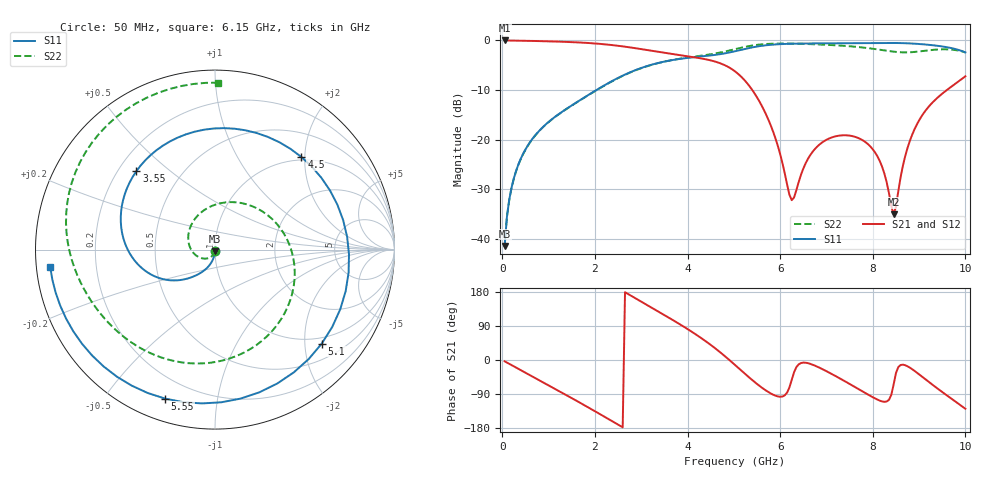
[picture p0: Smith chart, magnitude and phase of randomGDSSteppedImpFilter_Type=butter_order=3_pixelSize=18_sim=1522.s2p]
! freq	dB(S11)	phase(S11)	dB(S12)	phase(S12)
!  dB(S21)	phase(S21)	dB(S22)	phase(S22)
!S-par simulation data
#  GHz  S  DB  R 50
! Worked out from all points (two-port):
!   200 points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, 50 MHz to 10 GHz, reference 50 ohm
!   highest |S21| = -0.01 dB at 50 MHz (marker M1); lowest = -35.1 dB at 8.45 GHz (marker M2)
!   |S21| within 3 dB of the highest: start of sweep to 3.865 GHz
!   lowest |S11| = -41.5 dB at 50 MHz (marker M3), VSWR 1.02, Z = 50 - j0.844 ohm
!   |S11| at or under -10 dB: start of sweep to 2.034 GHz
!   |S22| runs from -41.5 to -0.6 dB; largest |S21 - S12| = 0
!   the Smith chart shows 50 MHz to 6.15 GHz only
!   S11 on the Smith chart (normalised r, x): 50 MHz: 1.00, -0.02; 3.55 GHz: 0.27, +0.39; 4.5 GHz: 0.94, +1.93; 5.1 GHz: 0.85, -2.39; 5.55 GHz: 0.10, -0.71; 6.15 GHz: 0.04, -0.05
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0.05  -41.47 -90.9  -0.01 -3.4  -0.01 -3.4  -41.49 -94.1
0.2  -29.68 -96.8  -0.03 -13.4  -0.03 -13.4  -29.73 -110.0
0.45  -22.86 -105.3  -0.06 -30.0  -0.06 -30.0  -22.91 -135.6
1.15  -15.33 -125.2  -0.22 -76.8  -0.22 -76.8  -15.36 150.1
1.75  -11.63 -139.5  -0.46 -117.7  -0.46 -117.7  -11.66 82.6
2.55  -7.33 -167.8  -1.14 -174.0  -1.14 -174.0  -7.38 -1.5
3.4  -4.47 145.2  -2.34 125.8  -2.34 125.8  -4.49 -74.3
3.55  -4.17 135.1  -2.56 115.1  -2.56 115.1  -4.18 -85.5
4.5  -3.03 47.0  -4.03 40.0  -4.03 40.0  -2.79 -147.9
5.05  -2.13 -33.4  -6.42 -15.7  -6.42 -15.7  -1.71 177.1
5.1  -2.02 -41.4  -6.81 -21.2  -6.81 -21.2  -1.59 173.6
5.55  -1.15 -108.6  -12.27 -68.0  -12.27 -68.0  -0.84 139.0
6.15  -0.69 -173.9  -29.05 -86.0  -29.05 -86.0  -0.63 88.9
6.7  -0.60 144.6  -22.46 -12.3  -22.46 -12.3  -0.76 41.0
7.25  -0.57 111.7  -19.24 -46.0  -19.24 -46.0  -1.01 -10.1
7.75  -0.54 85.4  -19.96 -80.8  -19.96 -80.8  -1.39 -62.4
8.35  -0.50 55.9  -30.81 -105.1  -30.81 -105.1  -2.14 -143.8
8.45  -0.51 51.0  -35.06 -64.8  -35.06 -64.8  -2.26 -160.5
8.75  -0.58 36.6  -21.69 -16.6  -21.69 -16.6  -2.41 144.6
9.1  -0.79 19.9  -14.66 -47.4  -14.66 -47.4  -2.10 81.1
9.55  -1.29 -1.2  -10.36 -89.0  -10.36 -89.0  -1.79 16.3
10  -2.42 -23.8  -7.23 -128.7  -7.23 -128.7  -2.42 -32.7
